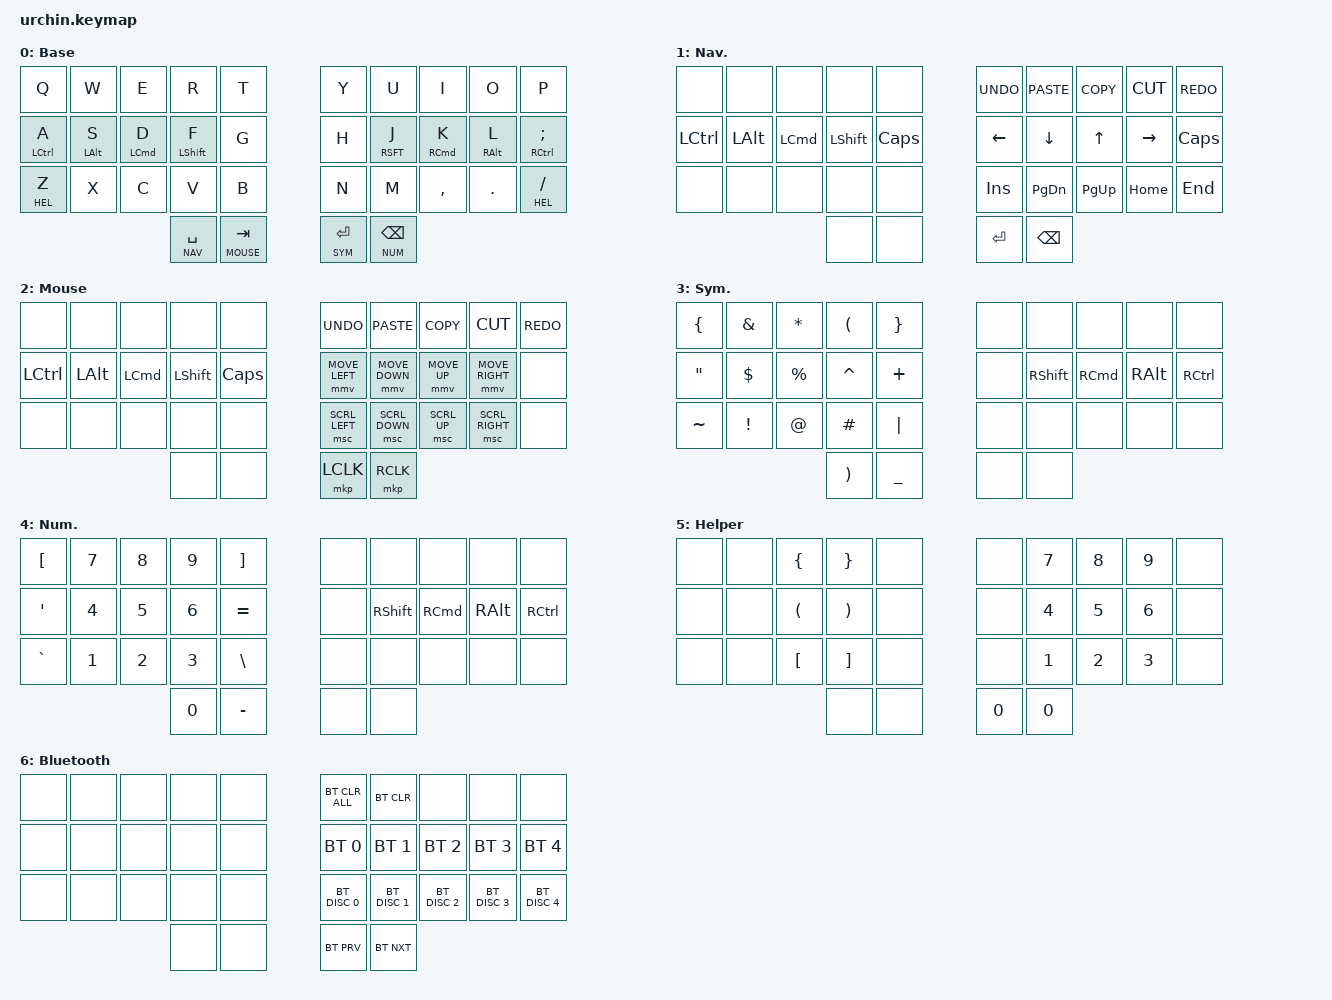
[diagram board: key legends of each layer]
/*
 * Copyright (c) 2020 duckyb
 *
 * SPDX-License-Identifier: MIT
 */

#include <behaviors.dtsi>
#include <dt-bindings/zmk/keys.h>
#include <dt-bindings/zmk/bt.h>
#include <dt-bindings/zmk/outputs.h>
// Mouse stuff
#define ZMK_POINTING_DEFAULT_MOVE_VAL 600
#define ZMK_POINTING_DEFAULT_SCRL_VAL 10
#include <dt-bindings/zmk/pointing.h>
// Layer definitions
#define BASE 0
#define NAV 1
#define MOUSE 2
#define SYM 3
#define NUM 4
#define HEL 5
#define BLT 6
// -----------------

&lt {
	tapping-term-ms = <200>; // This is the value already set by default
	quick_tap_ms = <200>; // Enable quick tap for &lt
};

&sl {
	release-after-ms = <2000>;
};

/ {
	behaviors {
		hml: home_row_mod_left {
			compatible = "zmk,behavior-hold-tap";
			#binding-cells = <2>;
			flavor = "balanced";
			require-prior-idle-ms = <100>;
			tapping-term-ms = <180>;
			quick-tap-ms = <170>;
			bindings = <&kp>, <&kp>;
			hold-trigger-key-positions = < // List of keys on the right side of the keyboard
				 5  6  7  8  9
				15 16 17 18 19
				25 26 27 28 29
			>;
			hold-trigger-on-release;
		};
		hmr: home_row_mod_right {
			compatible = "zmk,behavior-hold-tap";
			#binding-cells = <2>;
			flavor = "balanced";
			require-prior-idle-ms = <100>;
			tapping-term-ms = <180>;
			quick-tap-ms = <170>;
			bindings = <&kp>, <&kp>;
			hold-trigger-key-positions = < // List of keys on the left side of the keyboard
				 0  1  2  3  4
				10 11 12 13 14
				20 21 22 23 24
			>;
			hold-trigger-on-release;
		};
	};

	combos {
		compatible = "zmk,combos";
		combo_esc {
			timeout-ms = <50>;
			key-positions = <16 17>;
			bindings = <&kp ESC>;
			layers = <BASE>;
		};
		combo_tab {
			timeout-ms = <50>;
			key-positions = <12 13>;
			bindings = <&kp TAB>;
			layers = <BASE>;
		};
		combo_bluetooh_layer {
			timeout-ms = <200>;
			key-positions = <31 24>;
			bindings = <&sl BLT>;
			layers = <BASE MOUSE>;
		};
	};

	keymap {
		compatible = "zmk,keymap";
		layer0 {
			label = "Base";
			bindings = <
			&kp Q &kp W &kp E &kp R &kp T			&kp Y &kp U &kp I &kp O &kp P
	&hml LCTRL A &hml LALT S &hml LCMD D &hml LSHFT F &kp G		&kp H &hmr RSFT J &hmr RCMD K &hmr RALT L &hmr RCTRL SEMI
			&lt HEL Z &kp X &kp C &kp V &kp B		&kp N &kp M &kp COMMA &kp DOT &lt HEL SLASH
			&lt NAV SPACE &lt MOUSE TAB			&lt SYM ENTER &lt NUM BACKSPACE
			>;
		};
		layer1 {
			label = "Nav.";
			bindings = <
			&none &none &none &none &none			&kp K_UNDO &kp K_PASTE &kp K_COPY &kp K_CUT &kp K_REDO
	&kp LCTRL &kp LALT &kp LCMD &kp LSHFT &kp CAPS			&kp LEFT &kp DOWN &kp UP &kp RIGHT &kp CAPS
			&none &none &none &none &none			&kp INSERT &kp PAGE_DOWN &kp PAGE_UP &kp HOME &kp END
					  &none &none			&kp ENTER &kp BACKSPACE
			>;
		};
		layer2 {
			label = "Mouse";
			bindings = <
			&none &none &none &none &none			&kp K_UNDO &kp K_PASTE &kp K_COPY &kp K_CUT &kp K_REDO
	&kp LCTRL &kp LALT &kp LCMD &kp LSHFT &kp CAPS			&mmv MOVE_LEFT &mmv MOVE_DOWN &mmv MOVE_UP &mmv MOVE_RIGHT &none
			&none &none &none &none &none			&msc SCRL_LEFT &msc SCRL_DOWN &msc SCRL_UP &msc SCRL_RIGHT &none
					&none &none			&mkp LCLK &mkp RCLK
			>;
		};
		layer3 {
			label = "Sym.";
			bindings = <
		&kp LBRC &kp AMPS &kp STAR &kp LPAR &kp RBRC		&none &none &none &none &none
		&kp DQT &kp DOLLAR &kp PERCENT &kp CARET &kp PLUS	&none &kp RSHFT &kp RCMD &kp RALT &kp RCTRL
		&kp TILDE &kp EXCL &kp AT_SIGN &kp HASH &kp PIPE	&none &none &none &none &none
						&kp RPAR &kp UNDER	&none &none
			>;
		};
		layer4 {
			label = "Num.";
			bindings = <
			&kp LBKT &kp N7 &kp N8 &kp N9 &kp RBKT		&none &none &none &none &none
			&kp SQT &kp N4 &kp N5 &kp N6 &kp EQUAL		&none &kp RSHFT &kp RCMD &kp RALT &kp RCTRL
			&kp GRAVE &kp N1 &kp N2 &kp N3 &kp BSLH		&none &none &none &none &none
						&kp N0 &kp MINUS	&none &none
			>;
		};
		layer5 {
			label = "Helper";
			bindings = <
			&none &none &kp LBRC &kp RBRC &none		&none &kp N7 &kp N8 &kp N9 &none
			&none &none &kp LPAR &kp RPAR &none		&none &kp N4 &kp N5 &kp N6 &none
			&none &none &kp LBKT &kp RBKT &none		&none &kp N1 &kp N2 &kp N3 &none
						&none &none		&kp N0 &kp N0
			>;
		};
		layer6 {
			label = "Bluetooth";
			bindings = <
			&none &none &none &none &none			&bt BT_CLR_ALL &bt BT_CLR    &none	   &none         &none
			&none &none &none &none &none			&bt BT_SEL 0   &bt BT_SEL 1  &bt BT_SEL 2  &bt BT_SEL 3  &bt BT_SEL 4
			&none &none &none &none &none			&bt BT_DISC 0  &bt BT_DISC 1 &bt BT_DISC 2 &bt BT_DISC 3 &bt BT_DISC 4
						&none &none		&bt BT_PRV &bt BT_NXT
			>;
		};
	};
};
